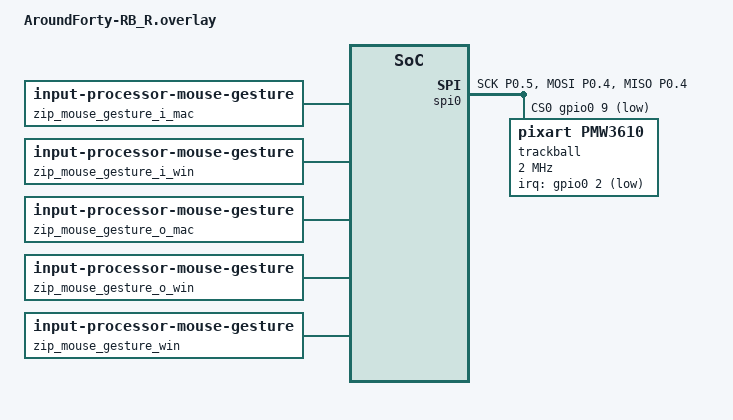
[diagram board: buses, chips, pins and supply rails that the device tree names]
#include "AroundForty-RB.dtsi"
#include <dt-bindings/zmk/keys.h>
#include <dt-bindings/zmk/pointing.h>
#include <dt-bindings/zmk/input_transform.h>
#include <input/processors.dtsi>
#include <zephyr/dt-bindings/input/input-event-codes.h>
#include <scroll-snap.dtsi>

#define Mac_Default_Layer 0
#define Win_Default_Layer 1
#define AML_Layer         2
#define Mac_Num_Layer     3
#define Win_Num_Layer     4
#define Mac_Symbol_Layer  5
#define Win_Symbol_Layer  6
#define Mac_Common_Layer  7
#define Win_Common_Layer  8
#define Mac_Arrow_Layer   9
#define Win_Arrow_Layer   10
#define Setting_Layer     11
#define I_Gesture_Layer   12
#define I_Gesture_Win     13
#define O_Gesture_Layer   14
#define O_Gesture_Win     15

&default_transform {
    col-offset = <6>;
};

&kscan0 {
    col-gpios
        = <&xiao_d 10 GPIO_ACTIVE_HIGH>
        , <&xiao_d  9 GPIO_ACTIVE_HIGH>
        , <&xiao_d  8 GPIO_ACTIVE_HIGH>
        , <&xiao_d  7 GPIO_ACTIVE_HIGH>
        , <&gpio0  10 GPIO_ACTIVE_HIGH>
        ;
};

&zip_scroll_snap {
    require-n-samples = <8>;
    immediate-snap-threshold = <750>;
    lock-duration-ms = <175>;
    lock-for-next-n-events = <8>;
    idle-reset-timeout-ms = <175>;
};

// Layer 0: macOS用マウスジェスチャー
&zip_mouse_gesture {
    stroke-size = <200>;
    movement-threshold = <3>;
    idle-timeout-ms = <300>;
    enable-eager-mode;
    suppress-movement;

    page_top {
        pattern = <GESTURE_UP>;
        bindings = <&kp LG(UP_ARROW)>;
    };

    page_bottom {
        pattern = <GESTURE_DOWN>;
        bindings = <&kp LG(DOWN_ARROW)>;
    };

    history_forward {
        pattern = <GESTURE_RIGHT>;
        bindings = <&kp LG(RIGHT_BRACKET)>;
    };

    history_back {
        pattern = <GESTURE_LEFT>;
        bindings = <&kp LG(LEFT_BRACKET)>;
    };

    new_tab {
        pattern = <GESTURE_LEFT GESTURE_RIGHT>;
        bindings = <&kp LG(T)>;
    };

    open_history {
        pattern = <GESTURE_DOWN GESTURE_RIGHT>;
        bindings = <&kp LG(Y)>;
    };
};

/ {
    // I長押し: タブ操作（macOS）
    zip_mouse_gesture_i_mac: zip_mouse_gesture_i_mac {
        compatible = "zmk,input-processor-mouse-gesture";
        #input-processor-cells = <0>;
        stroke-size = <150>;
        movement-threshold = <3>;
        gesture-cooldown-ms = <200>;
        always-active;
        enable-eager-mode;
        suppress-movement;

        next_tab {
            pattern = <GESTURE_RIGHT>;
            bindings = <&kp LC(TAB)>;
        };

        previous_tab {
            pattern = <GESTURE_LEFT>;
            bindings = <&kp LC(LS(TAB))>;
        };

        reopen_tab {
            pattern = <GESTURE_UP>;
            bindings = <&kp LG(LS(T))>;
        };

        close_tab {
            pattern = <GESTURE_DOWN>;
            bindings = <&kp LG(W)>;
        };
    };

    // I長押し: タブ操作（Windows）
    zip_mouse_gesture_i_win: zip_mouse_gesture_i_win {
        compatible = "zmk,input-processor-mouse-gesture";
        #input-processor-cells = <0>;
        stroke-size = <150>;
        movement-threshold = <3>;
        gesture-cooldown-ms = <200>;
        always-active;
        enable-eager-mode;
        suppress-movement;

        next_tab {
            pattern = <GESTURE_RIGHT>;
            bindings = <&kp LC(TAB)>;
        };

        previous_tab {
            pattern = <GESTURE_LEFT>;
            bindings = <&kp LC(LS(TAB))>;
        };

        reopen_tab {
            pattern = <GESTURE_UP>;
            bindings = <&kp LC(LS(T))>;
        };

        close_tab {
            pattern = <GESTURE_DOWN>;
            bindings = <&kp LC(W)>;
        };
    };

    // O長押し: macOS用デスクトップ／ウィンドウジェスチャー
    zip_mouse_gesture_o_mac: zip_mouse_gesture_o_mac {
        compatible = "zmk,input-processor-mouse-gesture";
        #input-processor-cells = <0>;
        stroke-size = <200>;
        movement-threshold = <3>;
        always-active;
        enable-eager-mode;
        suppress-movement;

        desktop_right {
            pattern = <GESTURE_RIGHT>;
            bindings = <&kp LC(RIGHT_ARROW)>;
        };

        desktop_left {
            pattern = <GESTURE_LEFT>;
            bindings = <&kp LC(LEFT_ARROW)>;
        };

        mission_control {
            pattern = <GESTURE_UP>;
            bindings = <&kp LC(UP_ARROW)>;
        };

        app_expose {
            pattern = <GESTURE_DOWN>;
            bindings = <&kp LC(DOWN_ARROW)>;
        };
    };

    // O長押し: Windows用デスクトップ／ウィンドウジェスチャー
    zip_mouse_gesture_o_win: zip_mouse_gesture_o_win {
        compatible = "zmk,input-processor-mouse-gesture";
        #input-processor-cells = <0>;
        stroke-size = <200>;
        movement-threshold = <3>;
        always-active;
        enable-eager-mode;
        suppress-movement;

        desktop_right {
            pattern = <GESTURE_RIGHT>;
            bindings = <&kp LC(LG(RIGHT_ARROW))>;
        };

        desktop_left {
            pattern = <GESTURE_LEFT>;
            bindings = <&kp LC(LG(LEFT_ARROW))>;
        };

        task_view {
            pattern = <GESTURE_UP>;
            bindings = <&kp LG(TAB)>;
        };

        minimize_window {
            pattern = <GESTURE_DOWN>;
            bindings = <&kp LG(DOWN_ARROW)>;
        };
    };

    // Layer 1: Windows用マウスジェスチャー
    zip_mouse_gesture_win: zip_mouse_gesture_win {
        compatible = "zmk,input-processor-mouse-gesture";
        #input-processor-cells = <0>;
        stroke-size = <200>;
        movement-threshold = <3>;
        idle-timeout-ms = <300>;
        enable-eager-mode;
        suppress-movement;

        page_top {
            pattern = <GESTURE_UP>;
            bindings = <&kp LC(HOME)>;
        };

        page_bottom {
            pattern = <GESTURE_DOWN>;
            bindings = <&kp LC(END)>;
        };

        history_forward {
            pattern = <GESTURE_RIGHT>;
            bindings = <&kp LA(RIGHT_ARROW)>;
        };

        history_back {
            pattern = <GESTURE_LEFT>;
            bindings = <&kp LA(LEFT_ARROW)>;
        };

        new_tab {
            pattern = <GESTURE_LEFT GESTURE_RIGHT>;
            bindings = <&kp LC(T)>;
        };

        open_history {
            pattern = <GESTURE_DOWN GESTURE_RIGHT>;
            bindings = <&kp LC(H)>;
        };
    };

    trackball_listener: trackball_listener {
        compatible = "zmk,input-listener";
        device = <&trackball>;
        input-processors = <&zip_xy_transform (INPUT_TRANSFORM_X_INVERT)>,
                           <&zip_mouse_gesture>,
                           <&zip_xy_scaler 1 1>,
                           <&zip_temp_layer AML_Layer 5000>;

        scroll-layer {
            layers = <Mac_Common_Layer Win_Common_Layer>;
            input-processors = <&zip_xy_to_scroll_mapper>, 
                               <&zip_scroll_transform (INPUT_TRANSFORM_X_INVERT | INPUT_TRANSFORM_Y_INVERT)>,
                               <&zip_scroll_scaler 1 25>,
                               <&zip_scroll_snap>;
        };

        o-gesture-win-layer {
            layers = <O_Gesture_Win>;
            input-processors = <&zip_xy_transform (INPUT_TRANSFORM_X_INVERT)>,
                               <&zip_mouse_gesture_o_win>,
                               <&zip_xy_scaler 1 1>,
                               <&zip_temp_layer AML_Layer 5000>;
        };

        o-gesture-mac-layer {
            layers = <O_Gesture_Layer>;
            input-processors = <&zip_xy_transform (INPUT_TRANSFORM_X_INVERT)>,
                               <&zip_mouse_gesture_o_mac>,
                               <&zip_xy_scaler 1 1>,
                               <&zip_temp_layer AML_Layer 5000>;
        };

        i-gesture-win-layer {
            layers = <I_Gesture_Win>;
            input-processors = <&zip_xy_transform (INPUT_TRANSFORM_X_INVERT)>,
                               <&zip_mouse_gesture_i_win>,
                               <&zip_xy_scaler 1 1>,
                               <&zip_temp_layer AML_Layer 5000>;
        };

        i-gesture-mac-layer {
            layers = <I_Gesture_Layer>;
            input-processors = <&zip_xy_transform (INPUT_TRANSFORM_X_INVERT)>,
                               <&zip_mouse_gesture_i_mac>,
                               <&zip_xy_scaler 1 1>,
                               <&zip_temp_layer AML_Layer 5000>;
        };

        win-gesture-layer {
            layers = <Win_Default_Layer>;
            input-processors = <&zip_xy_transform (INPUT_TRANSFORM_X_INVERT)>,
                               <&zip_mouse_gesture_win>,
                               <&zip_xy_scaler 1 1>,
                               <&zip_temp_layer AML_Layer 5000>;
        };
    };
};

&pinctrl {
    spi0_default: spi0_default {
        group1 {
            psels = <NRF_PSEL(SPIM_SCK,  0, 5)>,
                    <NRF_PSEL(SPIM_MOSI, 0, 4)>,
                    <NRF_PSEL(SPIM_MISO, 0, 4)>;
        };
    };

    spi0_sleep: spi0_sleep {
        group1 {
            psels = <NRF_PSEL(SPIM_SCK,  0, 5)>,
                    <NRF_PSEL(SPIM_MOSI, 0, 4)>,
                    <NRF_PSEL(SPIM_MISO, 0, 4)>;
            low-power-enable;
        };
    };
};

&xiao_serial { status = "disabled"; };

&spi0 {
    status = "okay";
    compatible = "nordic,nrf-spim";
    pinctrl-0 = <&spi0_default>;
    pinctrl-1 = <&spi0_sleep>;
    pinctrl-names = "default", "sleep";
    cs-gpios = <&gpio0 9 GPIO_ACTIVE_LOW>;

    trackball: trackball@0 {
        status = "okay";
        compatible = "pixart,pmw3610";
        reg = <0>;
        spi-max-frequency = <2000000>;
        evt-type = <INPUT_EV_REL>;
        x-input-code = <INPUT_REL_X>;
        y-input-code = <INPUT_REL_Y>;
        cpi = <600>;
        irq-gpios = <&gpio0 2 (GPIO_ACTIVE_LOW | GPIO_PULL_UP)>;
        force-awake;
    };
};

&zip_temp_layer {
    excluded-positions = <
        7  // I
        8  // O
        10 // command or control (Hold)
        16 // J
        17 // K
        18 // L
        19 // command or control (Hold)
        20 // shift (hold)
        30 // shift (hold)
        31 // control
        32 // option or windows
        33 // command or alt
    >;
};
